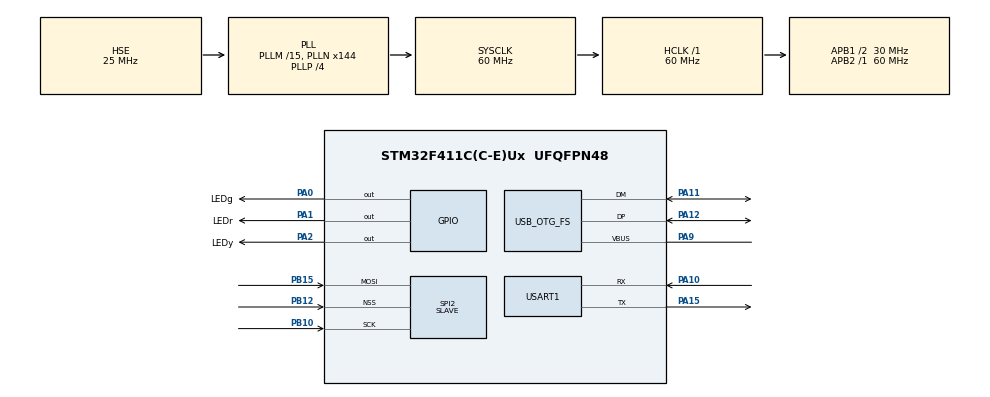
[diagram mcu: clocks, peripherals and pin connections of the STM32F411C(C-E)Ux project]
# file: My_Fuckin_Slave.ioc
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FATFS._MAX_SS=4096
Mcu.Family=STM32F4
Mcu.Name=STM32F411C(C-E)Ux
Mcu.Package=UFQFPN48
NVIC.OTG_FS_IRQn=true\:0\:0\:false\:false\:true\:false\:true
NVIC.PriorityGroup=NVIC_PRIORITYGROUP_4
NVIC.SPI2_IRQn=true\:0\:0\:false\:false\:true\:true\:true
PA0-WKUP.GPIO_Label=LEDg
PA0-WKUP.Signal=GPIO_Output
PA1.GPIO_Label=LEDr
PA1.Signal=GPIO_Output
PA10.Mode=Asynchronous
PA10.Signal=USART1_RX
PA11.Mode=Host_Only
PA11.Signal=USB_OTG_FS_DM
PA12.Mode=Host_Only
PA12.Signal=USB_OTG_FS_DP
PA13.Mode=Serial_Wire
PA13.Signal=SYS_JTMS-SWDIO
PA14.Mode=Serial_Wire
PA14.Signal=SYS_JTCK-SWCLK
PA15.Mode=Asynchronous
PA15.Signal=USART1_TX
PA2.GPIO_Label=LEDy
PA2.Signal=GPIO_Output
PA9.Mode=Activate_VBUS
PA9.Signal=USB_OTG_FS_VBUS
PB10.Mode=RX_Only_Simplex_Unidirect_Slave
PB10.Signal=SPI2_SCK
PB12.Mode=NSS_Signal_Hard_Input
PB12.Signal=SPI2_NSS
PB15.Mode=RX_Only_Simplex_Unidirect_Slave
PB15.Signal=SPI2_MOSI
PH0\ -\ OSC_IN.Mode=HSE-External-Oscillator
PH0\ -\ OSC_IN.Signal=RCC_OSC_IN
PH1\ -\ OSC_OUT.Mode=HSE-External-Oscillator
PH1\ -\ OSC_OUT.Signal=RCC_OSC_OUT
ProjectManager.HeapSize=0x400
ProjectManager.StackSize=0x800
ProjectManager.TargetToolchain=STM32CubeIDE
RCC.48MHZClocksFreq_Value=48000000
RCC.AHBFreq_Value=60000000
RCC.APB1CLKDivider=RCC_HCLK_DIV2
RCC.APB1Freq_Value=30000000
RCC.APB1TimFreq_Value=60000000
RCC.APB2Freq_Value=60000000
RCC.APB2TimFreq_Value=60000000
RCC.CortexFreq_Value=60000000
RCC.HCLKFreq_Value=60000000
RCC.HSE_VALUE=25000000
RCC.HSI_VALUE=16000000
RCC.LSE_VALUE=32768
RCC.PLLM=15
RCC.PLLN=144
RCC.PLLP=RCC_PLLP_DIV4
RCC.PLLQ=5
RCC.SYSCLKFreq_VALUE=60000000
RCC.SYSCLKSource=RCC_SYSCLKSOURCE_PLLCLK
RCC.VCOOutputFreq_Value=240000000
SPI2.Direction=SPI_DIRECTION_2LINES_RXONLY
SPI2.Mode=SPI_MODE_SLAVE
SPI2.VirtualNSS=VM_NSSHARD
SPI2.VirtualType=VM_SLAVE
USART1.VirtualMode=VM_ASYNC
USB_HOST.BSP.number=1
USB_HOST.USBH_HandleTypeDef=hUsbHostFS
USB_HOST.VirtualModeFS=Msc
USB_HOST0.BSP.STBoard=false
USB_HOST0.BSP.api=Unknown
USB_HOST0.BSP.i2caddr=0
USB_HOST0.BSP.instance=PA2
USB_HOST0.BSP.ip=GPIO
USB_HOST0.BSP.mode=Output
USB_HOST0.BSP.name=Drive_VBUS_FS
USB_HOST0.BSP.solution=PA2
USB_OTG_FS.VirtualMode=Host_Only
USB_OTG_FS.phy_itface=HCD_PHY_EMBEDDED
VP_FATFS_VS_USB.Mode=USB
VP_USB_HOST_VS_USB_HOST_MSC_FS.Mode=MSC_FS
board=custom

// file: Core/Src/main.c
/* USER CODE BEGIN Header */
/**
  ******************************************************************************
  * @file           : main.c
  * @brief          : Main program body
  ******************************************************************************
  * @attention
  *
  * <h2><center>&copy; Copyright (c) 2022 STMicroelectronics.
  * All rights reserved.</center></h2>
  *
  * This software component is licensed by ST under BSD 3-Clause license,
  * the "License"; You may not use this file except in compliance with the
  * License. You may obtain a copy of the License at:
  *                        opensource.org/licenses/BSD-3-Clause
  *
  ******************************************************************************
  */
/* USER CODE END Header */
#include "main.h"
#include "fatfs.h"
#include "usb_host.h"

/* USER CODE BEGIN Includes */
// ?? #include "stm32f7xx_it.h"
#include "File_Handling.h"
/* USER CODE END Includes */

SPI_HandleTypeDef hspi2;

UART_HandleTypeDef huart1;

/* USER CODE BEGIN PV */
char buf[100] = {1};
int flag = 0;

int C_File_W = 0;
int OK3 = 0;
int Thats_Right = 0;

const char* name = "Data.txt";

extern FIL USBHFile;
extern char USBHPath[4];
extern FATFS USBHFatFS;
extern ApplicationTypeDef Appli_state;
extern USBH_HandleTypeDef hUsbHostFS;

UINT bw;
FRESULT fresult;
/* USER CODE END PV */

void SystemClock_Config(void);
static void MX_GPIO_Init(void);
static void MX_SPI2_Init(void);
static void MX_USART1_UART_Init(void);
void MX_USB_HOST_Process(void);

/* USER CODE BEGIN 0 */

//void FileReadWrite(void)
//{
//	FRESULT res;
//	uint32_t byteswritten, bytesread;
//	if(f_mount(&USBHFatFS,(TCHAR const*)USBHPath,0)!=FR_OK)
//		{
//			HAL_GPIO_WritePin(LEDg_GPIO_Port, LEDg_Pin, 0);
//			HAL_GPIO_WritePin(LEDr_GPIO_Port, LEDr_Pin, 1);
//			Error_Handler();
//		}
//	else
//	{
//		HAL_GPIO_WritePin(LEDr_GPIO_Port, LEDr_Pin, 0);
//		HAL_GPIO_WritePin(LEDg_GPIO_Port, LEDg_Pin, 1);
//
//		if(f_open(&USBHFile,"Data.txt",FA_READ) != FR_OK)
//		{
//			Error_Handler();
//
//		}
//		else
//		{
//			res = f_read(&USBHFile, buf, sizeof(buf), (void*)bytesread);
//			if((bytesread == 0) || (res != FR_OK))
//			{
//				Error_Handler();
//			}
//
//			else
//			{
//
//				Thats_Right = 1;
//
//			}
//		}
//
//	}
//
//
//}

/* USER CODE END 0 */

int main(void)
{

  /* MCU Configuration--------------------------------------------------------*/

  /* Reset of all peripherals, Initializes the Flash interface and the Systick. */
  HAL_Init();

  /* Configure the system clock */
  SystemClock_Config();

  /* Initialize all configured peripherals */
  MX_GPIO_Init();
  MX_SPI2_Init();
  MX_FATFS_Init();
  MX_USB_HOST_Init();
  MX_USART1_UART_Init();
  /* USER CODE BEGIN 2 */

 // while(Appli_state != APPLICATION_READY) MX_USB_HOST_Process();

//  switch(HAL_SPI_Receive(&hspi2, (uint8_t*)&buf, sizeof(buf), 5000))
//  {
//    case HAL_OK:
//      /* Communication is completed ___________________________________________ */
//    	OK1 = 1;
//    	flag = 1;
//    	break;
//      /* Compare the sent and received buffers */
//    case HAL_TIMEOUT:
//      /* An Error Occur ______________________________________________________ */
//    	OK2 = 1;
//    	break;
//    case HAL_ERROR:
//      /* Call Timeout Handler */
//    	OK3 = 1;
//      Error_Handler();
//      break;
//    default:
//      break;
//  }

  //HAL_SPI_Receive_IT(&hspi2, (uint8_t*)&buf[0], sizeof(buf[0]));

  //HAL_SPI_Receive_IT(&hspi2, (uint8_t*)&buf, sizeof(buf));

  //HAL_SPI_Receive_DMA(&hspi2, (uint8_t*)&buf, sizeof(buf));

  /* USER CODE END 2 */

  /* Infinite loop */
  /* USER CODE BEGIN WHILE */
  while (1)
  {

//	  if (HAL_GetTick() - T >= 250)
//	  {
//		  T = HAL_GetTick();
//
//		  if (flag == 1)
//		  	  {
//			  	  HAL_GPIO_WritePin(LEDg_GPIO_Port, LEDg_Pin, 1);
//		  	  }
//		  else
//		  {
//			  HAL_GPIO_WritePin(LEDr_GPIO_Port, LEDr_Pin, 1);
//		  }
//	  }

    /* USER CODE END WHILE */
 //   MX_USB_HOST_Process();

    /* USER CODE BEGIN 3 */

//    if (Appli_state == APPLICATION_START)
//    {
//    	FileReadWrite();
//    }
//    else if (Appli_state == APPLICATION_IDLE)
//    {
//
//    }
  }
  /* USER CODE END 3 */
}

void SystemClock_Config(void)
{
  RCC_OscInitTypeDef RCC_OscInitStruct = {0};
  RCC_ClkInitTypeDef RCC_ClkInitStruct = {0};

  /** Configure the main internal regulator output voltage
  */
  __HAL_RCC_PWR_CLK_ENABLE();
  __HAL_PWR_VOLTAGESCALING_CONFIG(PWR_REGULATOR_VOLTAGE_SCALE1);
  /** Initializes the RCC Oscillators according to the specified parameters
  * in the RCC_OscInitTypeDef structure.
  */
  RCC_OscInitStruct.OscillatorType = RCC_OSCILLATORTYPE_HSE;
  RCC_OscInitStruct.HSEState = RCC_HSE_ON;
  RCC_OscInitStruct.PLL.PLLState = RCC_PLL_ON;
  RCC_OscInitStruct.PLL.PLLSource = RCC_PLLSOURCE_HSE;
  RCC_OscInitStruct.PLL.PLLM = 15;
  RCC_OscInitStruct.PLL.PLLN = 144;
  RCC_OscInitStruct.PLL.PLLP = RCC_PLLP_DIV4;
  RCC_OscInitStruct.PLL.PLLQ = 5;
  if (HAL_RCC_OscConfig(&RCC_OscInitStruct) != HAL_OK)
  {
    Error_Handler();
  }
  /** Initializes the CPU, AHB and APB buses clocks
  */
  RCC_ClkInitStruct.ClockType = RCC_CLOCKTYPE_HCLK|RCC_CLOCKTYPE_SYSCLK
                              |RCC_CLOCKTYPE_PCLK1|RCC_CLOCKTYPE_PCLK2;
  RCC_ClkInitStruct.SYSCLKSource = RCC_SYSCLKSOURCE_PLLCLK;
  RCC_ClkInitStruct.AHBCLKDivider = RCC_SYSCLK_DIV1;
  RCC_ClkInitStruct.APB1CLKDivider = RCC_HCLK_DIV2;
  RCC_ClkInitStruct.APB2CLKDivider = RCC_HCLK_DIV1;

  if (HAL_RCC_ClockConfig(&RCC_ClkInitStruct, FLASH_LATENCY_1) != HAL_OK)
  {
    Error_Handler();
  }
}

static void MX_SPI2_Init(void)
{

  /* SPI2 parameter configuration*/
  hspi2.Instance = SPI2;
  hspi2.Init.Mode = SPI_MODE_SLAVE;
  hspi2.Init.Direction = SPI_DIRECTION_2LINES_RXONLY;
  hspi2.Init.DataSize = SPI_DATASIZE_8BIT;
  hspi2.Init.CLKPolarity = SPI_POLARITY_LOW;
  hspi2.Init.CLKPhase = SPI_PHASE_1EDGE;
  hspi2.Init.NSS = SPI_NSS_HARD_INPUT;
  hspi2.Init.FirstBit = SPI_FIRSTBIT_MSB;
  hspi2.Init.TIMode = SPI_TIMODE_DISABLE;
  hspi2.Init.CRCCalculation = SPI_CRCCALCULATION_DISABLE;
  hspi2.Init.CRCPolynomial = 10;
  if (HAL_SPI_Init(&hspi2) != HAL_OK)
  {
    Error_Handler();
  }

}

static void MX_USART1_UART_Init(void)
{

  huart1.Instance = USART1;
  huart1.Init.BaudRate = 115200;
  huart1.Init.WordLength = UART_WORDLENGTH_8B;
  huart1.Init.StopBits = UART_STOPBITS_1;
  huart1.Init.Parity = UART_PARITY_NONE;
  huart1.Init.Mode = UART_MODE_TX_RX;
  huart1.Init.HwFlowCtl = UART_HWCONTROL_NONE;
  huart1.Init.OverSampling = UART_OVERSAMPLING_16;
  if (HAL_UART_Init(&huart1) != HAL_OK)
  {
    Error_Handler();
  }

}

static void MX_GPIO_Init(void)
{
  GPIO_InitTypeDef GPIO_InitStruct = {0};

  /* GPIO Ports Clock Enable */
  __HAL_RCC_GPIOH_CLK_ENABLE();
  __HAL_RCC_GPIOA_CLK_ENABLE();
  __HAL_RCC_GPIOB_CLK_ENABLE();

  /*Configure GPIO pin Output Level */
  HAL_GPIO_WritePin(GPIOA, LEDg_Pin|LEDr_Pin|LEDy_Pin, GPIO_PIN_RESET);

  /*Configure GPIO pins : LEDg_Pin LEDr_Pin LEDy_Pin */
  GPIO_InitStruct.Pin = LEDg_Pin|LEDr_Pin|LEDy_Pin;
  GPIO_InitStruct.Mode = GPIO_MODE_OUTPUT_PP;
  GPIO_InitStruct.Pull = GPIO_NOPULL;
  GPIO_InitStruct.Speed = GPIO_SPEED_FREQ_LOW;
  HAL_GPIO_Init(GPIOA, &GPIO_InitStruct);

}

/* USER CODE BEGIN 4 */

void HAL_SPI_RxCpltCallback(SPI_HandleTypeDef *hspi)
{
	flag = 1;

	HAL_GPIO_WritePin(LEDg_GPIO_Port, LEDg_Pin, 0);
	HAL_GPIO_WritePin(LEDr_GPIO_Port, LEDr_Pin, 0);

	HAL_SPI_Receive_IT(&hspi2, (uint8_t*)&buf, sizeof(buf));
//	  HAL_SPI_Receive_DMA(&hspi2, (uint8_t*)&buf, sizeof(buf));
}

/* USER CODE END 4 */

void Error_Handler(void)
{
  __disable_irq();
  while (1)
  {
  }
}

/************************ (C) COPYRIGHT STMicroelectronics *****END OF FILE****/
